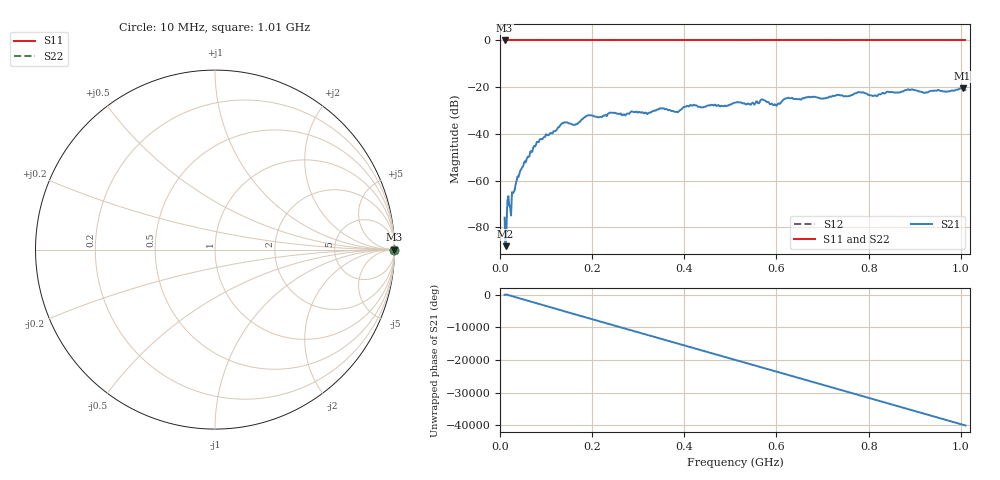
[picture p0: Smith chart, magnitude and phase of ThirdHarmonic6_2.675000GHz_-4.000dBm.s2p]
! 8/17/2025 6:14:57 AM
! C:\ANRITSUVNA\TEMP\TEMP.S2P
! CHANNEL.1
! TR.MEASUREMENT
! RAW.DATA
! RF.CORRECTION.OFF
! AVERAGING.OFF
! IF.BANDWIDTH: 5KHZ
! SWEEPTYPE:  FREQ.SWEEP(Linear)
! Reference Plane Port Info
! PORT:  PORT1  PORT2
! DISTANCE:  0  m  0  m
! TIME:  0  s  0  s
! PHASE.OFFSET:  0  deg.  0  deg.
! LOSS:  0  dB  0  dB
! REF.LOSS:  0  dB  0  dB
! REF.FREQ:  0  Hz  0  Hz
! Power Info
! POWER:  -20  dBm  -20  dBm
! EFF.POWER:  -20  dBm  -20  dBm
! SOURCE.ATTEN:  0  dB  0  dB
! TEST.ATTEN:  0  dB  0  dB
# GHZ S RI R 50.0
! FREQ.GHZ  S11RE  S11IM  S21RE  S21IM  S12RE  S12IM  S22RE  S22IM
!; PortSelection: Port_12
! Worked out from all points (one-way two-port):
!   501 points, 10 MHz to 1.01 GHz, reference 50 ohm
!   highest |S21| = -20.51 dB at 1.004 GHz (marker M1); lowest = -88.1 dB at 12 MHz (marker M2)
!   lowest |S11| = 0.0 dB at 10 MHz (marker M3)
!   |S11| at or under -10 dB: nowhere
!   |S22| runs from 0.0 to 0.0 dB; largest |S21 - S12| = 1.1
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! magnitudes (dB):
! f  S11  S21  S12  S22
! 10 MHz  0.0  -75.8  0.0  0.0
! 12 MHz  0.0  -88.1  0.0  0.0
! 18 MHz  0.0  -66.6  0.0  0.0
! 26 MHz  0.0  -64.9  0.0  0.0
! 40 MHz  0.0  -58.5  0.0  0.0
! 76 MHz  0.0  -45.4  0.0  0.0
! 136 MHz  0.0  -35.4  0.0  0.0
! 164 MHz  0.0  -35.9  0.0  0.0
! 178 MHz  0.0  -33.7  0.0  0.0
! 194 MHz  0.0  -32.0  0.0  0.0
! 322 MHz  0.0  -31.0  0.0  0.0
! 344 MHz  0.0  -29.5  0.0  0.0
! 382 MHz  0.0  -30.6  0.0  0.0
! 416 MHz  0.0  -27.9  0.0  0.0
! 510 MHz  0.0  -26.6  0.0  0.0
! 570 MHz  0.0  -25.3  0.0  0.0
! 598 MHz  0.0  -27.5  0.0  0.0
! 624 MHz  0.0  -24.6  0.0  0.0
! 678 MHz  0.0  -24.1  0.0  0.0
! 844 MHz  0.0  -22.1  0.0  0.0
! 1.004 GHz  0.0  -20.5  0.0  0.0
! 1.01 GHz  0.0  -21.1  0.0  0.0
